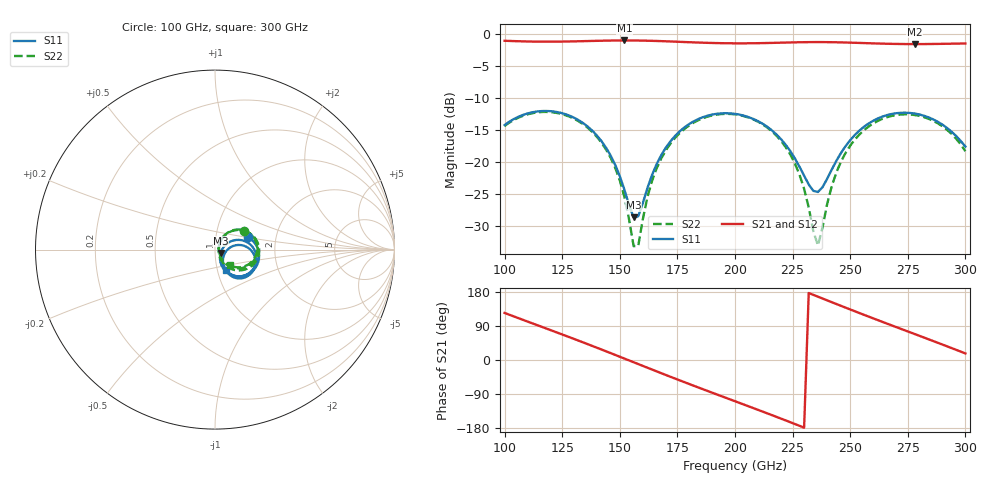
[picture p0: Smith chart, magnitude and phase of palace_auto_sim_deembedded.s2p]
! Created with skrf 1.11.0 (http://scikit-rf.org).
# GHz S DB R 50.0
!freq dBS11 angS11 dBS21 angS21 dBS12 angS12 dBS22 angS22
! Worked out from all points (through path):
!   101 points, 100 GHz to 300 GHz, reference 50 ohm
!   highest |S21| = -0.97 dB at 152 GHz (marker M1); lowest = -1.5 dB at 278 GHz (marker M2)
!   group delay of S21, straight-line fit = 6.5 ps
!   lowest |S11| = -28.7 dB at 156 GHz (marker M3), VSWR 1.08, Z = 53.2 - j2.05 ohm
!   |S11| at or under -10 dB: start of sweep to end of sweep
!   |S22| runs from -33.2 to -12.2 dB; largest |S21 - S12| = 1e-13
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100  -14.22 20.7  -1.02 124.2  -1.02 124.2  -14.37 33.3
116  -12.04 -11.7  -1.17 87.8  -1.17 87.8  -12.18 1.6
134  -13.90 -48.0  -1.09 46.6  -1.09 46.6  -14.07 -34.6
144  -17.76 -64.5  -1.00 23.0  -1.00 23.0  -18.04 -53.1
152  -24.36 -62.7  -0.97 3.8  -0.97 3.8  -25.48 -58.3
156  -28.70 -31.6  -0.98 -5.9  -0.98 -5.9  -33.20 -25.6
158  -28.52 -4.7  -0.99 -10.7  -0.99 -10.7  -33.17 24.0
162  -24.09 23.6  -1.02 -20.4  -1.02 -20.4  -25.50 56.2
168  -18.94 26.6  -1.08 -34.8  -1.08 -34.8  -19.45 54.0
184  -13.30 1.4  -1.30 -72.3  -1.30 -72.3  -13.48 25.3
200  -12.48 -28.1  -1.42 -108.8  -1.42 -108.8  -12.56 -6.1
212  -14.03 -48.6  -1.39 -136.2  -1.39 -136.2  -14.12 -29.3
222  -17.32 -61.0  -1.30 -159.4  -1.30 -159.4  -17.69 -47.4
228  -20.76 -60.0  -1.26 -173.7  -1.26 -173.7  -22.00 -54.3
234  -24.54 -35.3  -1.23 171.9  -1.23 171.9  -30.86 -33.7
236  -24.72 -20.3  -1.23 167.1  -1.23 167.1  -33.11 5.5
242  -21.20 8.6  -1.25 152.6  -1.25 152.6  -23.80 57.7
250  -16.60 9.7  -1.32 133.4  -1.32 133.4  -17.46 50.1
268  -12.49 -17.7  -1.51 91.4  -1.51 91.4  -12.80 15.1
278  -12.43 -35.1  -1.54 68.5  -1.54 68.5  -12.66 -5.2
290  -14.16 -53.8  -1.50 40.8  -1.50 40.8  -14.41 -29.1
300  -17.60 -61.9  -1.45 17.4  -1.45 17.4  -18.33 -46.6
